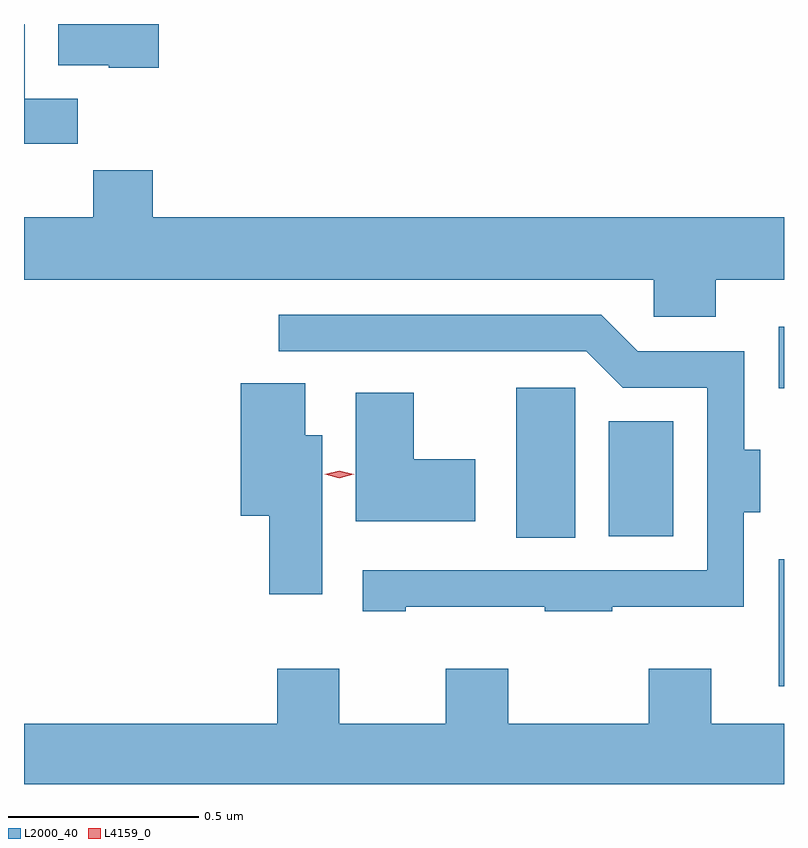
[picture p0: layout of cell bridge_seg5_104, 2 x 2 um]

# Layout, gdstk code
import gdstk
lib = gdstk.Library(unit=1e-6, precision=1e-09)
def R(c, l, rs):  # rectangles x0, y0, x1, y1
    for r in rs: c.add(gdstk.rectangle(r[:2], r[2:], *l))
def P(c, l, *ps):  # polygons
    for p in ps: c.add(gdstk.Polygon(p, *l))
L2000_40 = (2000, 40)
L4159_0 = (4159, 0)

bridge_seg5_104 = lib.new_cell('bridge_seg5_104')
R(bridge_seg5_104, L2000_40, [(582.713,874.338,582.727,874.672), (582.023,874.729,582.178,875.124), (582.266,874.733,582.436,875.035), (582.713,875.123,582.727,875.284)])
P(bridge_seg5_104, L2000_40, [(581.081,876.081),(580.817,876.081),(580.817,875.972),(580.95,875.972),(580.95,875.966),(581.081,875.966)],
  [(580.868,875.884),(580.729,875.884),(580.729,876.081),(580.727,876.081),(580.727,875.766),(580.868,875.766)],
  [(582.548,875.408),(582.727,875.408),(582.727,875.572),(581.066,875.572),(581.066,875.696),(580.909,875.696),(580.909,875.572),(580.727,875.572),(580.727,875.408),(582.384,875.408),(582.384,875.31),(582.548,875.31)],
  [(581.731,874.547),(582.097,874.547),(582.097,874.536),(582.275,874.536),(582.275,874.547),(582.621,874.547),(582.621,874.796),(582.664,874.796),(582.664,874.96),(582.622,874.96),(582.622,875.22),(582.342,875.22),(582.246,875.316),(581.397,875.316),(581.397,875.22),(582.207,875.22),(582.303,875.124),(582.525,875.124),(582.525,874.644),(581.619,874.644),(581.619,874.536),(581.731,874.536)],
  [(581.512,874.999),(581.467,874.999),(581.467,875.135),(581.297,875.135),(581.297,874.787),(581.372,874.787),(581.372,874.581),(581.512,874.581)],
  [(581.914,874.936),(581.752,874.936),(581.752,875.11),(581.6,875.11),(581.6,874.772),(581.914,874.772)],
  [(582.727,874.24),(582.535,874.24),(582.535,874.384),(582.371,874.384),(582.371,874.24),(582.001,874.24),(582.001,874.384),(581.837,874.384),(581.837,874.24),(581.557,874.24),(581.557,874.384),(581.393,874.384),(581.393,874.24),(580.727,874.24),(580.727,874.081),(582.727,874.081)])
P(bridge_seg5_104, L4159_0, [(581.557,874.886),(581.518,874.896),(581.518,874.896),(581.518,874.896),(581.557,874.906),(581.595,874.896),(581.596,874.896),(581.595,874.896)])

lib.write_gds('bridge_seg5_104.gds')
